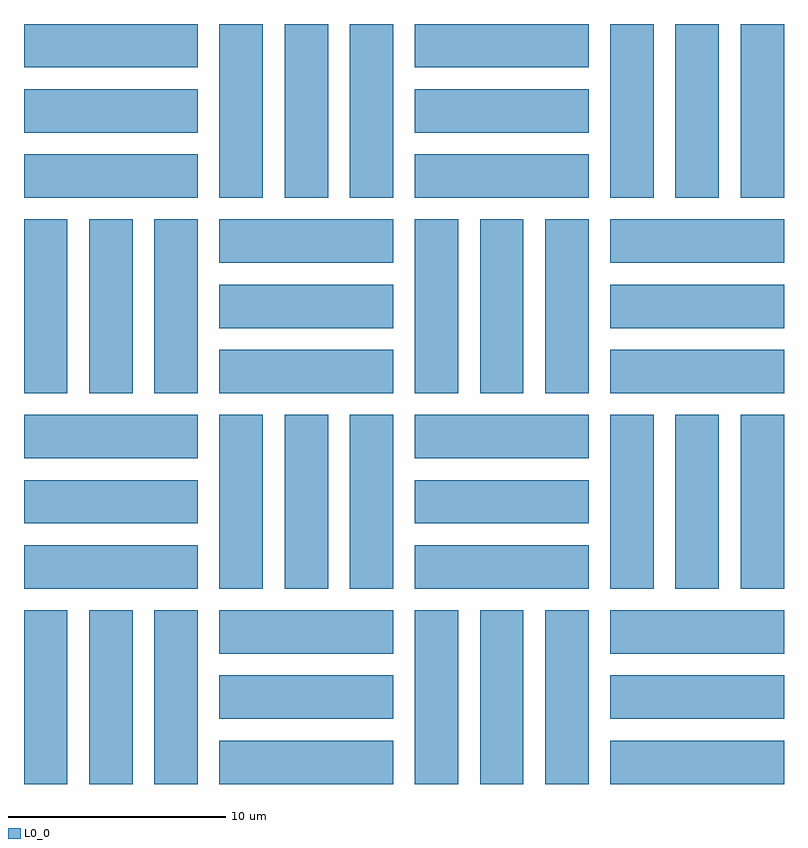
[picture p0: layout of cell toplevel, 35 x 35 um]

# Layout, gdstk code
import gdstk
lib = gdstk.Library(unit=1e-6, precision=1e-09)
def R(c, l, rs):  # rectangles x0, y0, x1, y1
    for r in rs: c.add(gdstk.rectangle(r[:2], r[2:], *l))
def A(c, l, x, y, w, h, nx, ny, dx, dy):  # array of equal rectangles
    R(c, l, [(x+i*dx, y+j*dy, x+i*dx+w, y+j*dy+h) for i in range(nx) for j in range(ny)])
L0_0 = (0, 0)

toplevel = lib.new_cell('toplevel')
A(toplevel, L0_0, -4, -4, 2, 8, 3, 2, 3, 18)
A(toplevel, L0_0, 5, -4, 8, 2, 1, 3, 0, 3)
A(toplevel, L0_0, 14, -4, 2, 8, 3, 2, 3, 18)
A(toplevel, L0_0, 23, -4, 8, 2, 1, 3, 0, 3)
A(toplevel, L0_0, -4, 5, 8, 2, 1, 3, 0, 3)
A(toplevel, L0_0, 5, 5, 2, 8, 3, 2, 3, 18)
A(toplevel, L0_0, 14, 5, 8, 2, 1, 3, 0, 3)
A(toplevel, L0_0, 23, 5, 2, 8, 3, 2, 3, 18)
A(toplevel, L0_0, 5, 14, 8, 2, 1, 3, 0, 3)
A(toplevel, L0_0, 23, 14, 8, 2, 1, 3, 0, 3)
A(toplevel, L0_0, -4, 23, 8, 2, 1, 3, 0, 3)
A(toplevel, L0_0, 14, 23, 8, 2, 1, 3, 0, 3)

lib.write_gds('toplevel.gds')
